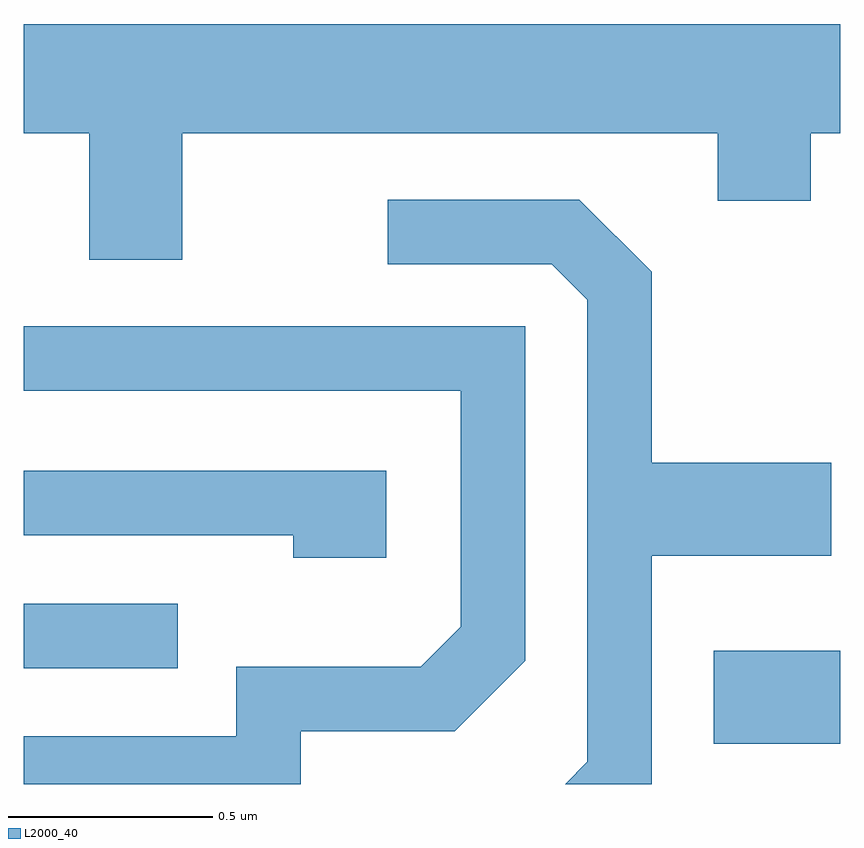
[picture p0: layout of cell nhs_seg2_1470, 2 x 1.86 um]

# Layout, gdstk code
import gdstk
lib = gdstk.Library(unit=1e-6, precision=1e-09)
def R(c, l, rs):  # rectangles x0, y0, x1, y1
    for r in rs: c.add(gdstk.rectangle(r[:2], r[2:], *l))
def P(c, l, *ps):  # polygons
    for p in ps: c.add(gdstk.Polygon(p, *l))
L2000_40 = (2000, 40)

nhs_seg2_1470 = lib.new_cell('nhs_seg2_1470')
R(nhs_seg2_1470, L2000_40, [(197.301,1077.901,197.611,1078.129), (195.611,1078.086,195.988,1078.244)])
P(nhs_seg2_1470, L2000_40, [(195.999,1079.396),(197.311,1079.396),(197.311,1079.231),(197.539,1079.231),(197.539,1079.396),(197.611,1079.396),(197.611,1079.664),(195.611,1079.664),(195.611,1079.396),(195.771,1079.396),(195.771,1079.086),(195.999,1079.086)],
  [(197.149,1078.361),(197.589,1078.361),(197.589,1078.589),(197.149,1078.589),(197.149,1079.057),(196.972,1079.234),(196.503,1079.234),(196.503,1079.076),(196.904,1079.076),(196.991,1078.989),(196.991,1077.857),(196.937,1077.802),(197.149,1077.802)],
  [(196.289,1077.931),(196.667,1077.931),(196.839,1078.104),(196.839,1078.924),(195.611,1078.924),(195.611,1078.766),(196.681,1078.766),(196.681,1078.187),(196.584,1078.089),(196.131,1078.089),(196.131,1077.919),(195.611,1077.919),(195.611,1077.802),(196.289,1077.802)],
  [(196.499,1078.569),(195.611,1078.569),(195.611,1078.411),(196.271,1078.411),(196.271,1078.356),(196.499,1078.356)])

lib.write_gds('nhs_seg2_1470.gds')
